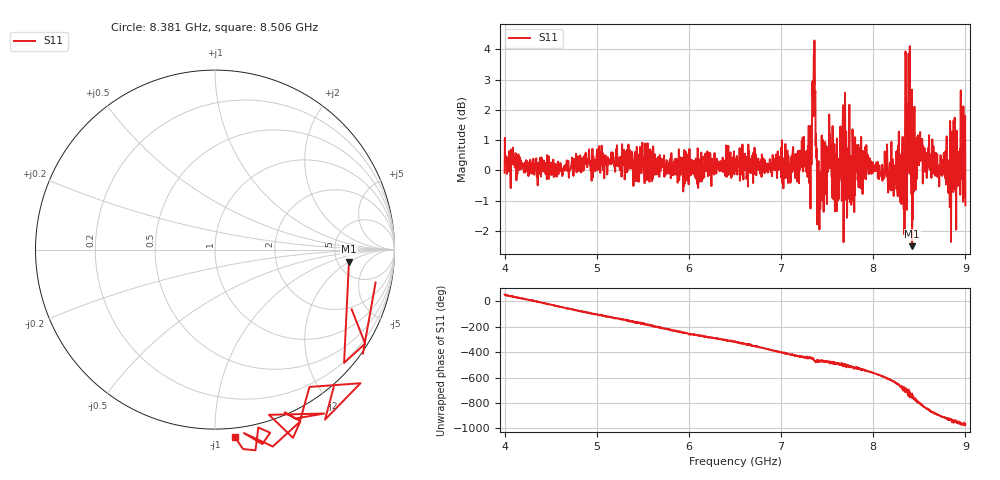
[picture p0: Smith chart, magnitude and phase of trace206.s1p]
! Created with skrf 1.8.0 (http://scikit-rf.org).
# Hz S RI R 50.0
!freq ReS11 ImS11
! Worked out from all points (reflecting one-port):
!   1601 points, 4 GHz to 9 GHz, reference 50 ohm
!   lowest |S11| = -2.5 dB at 8.422 GHz (marker M1), VSWR 6.98, Z = 319 - j97.5 ohm
!   phase of S11 starts at 55 deg and turns -1023 deg over the sweep
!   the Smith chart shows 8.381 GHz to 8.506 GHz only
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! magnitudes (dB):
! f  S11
! 4 GHz  -0.1
! 4.625 GHz  -0.2
! 5.25 GHz  0.0
! 5.875 GHz  0.1
! 6.5 GHz  0.0
! 7.125 GHz  0.6
! 7.306 GHz  -0.4
! 7.347 GHz  2.1
! 7.359 GHz  2.8
! 7.4 GHz  -0.4
! 7.412 GHz  -1.1
! 7.525 GHz  1.3
! 7.609 GHz  -0.1
! 7.669 GHz  1.6
! 7.75 GHz  -1.1
! 8.259 GHz  0.3
! 8.316 GHz  0.7
! 8.331 GHz  -1.3
! 8.347 GHz  2.6
! 8.375 GHz  1.8
! 8.422 GHz  -2.5
! 8.447 GHz  2.1
! 8.509 GHz  1.3
! 8.562 GHz  0.5
! 8.825 GHz  0.3
! 8.956 GHz  -0.3
! 8.972 GHz  -0.2
! 9 GHz  -1.2
